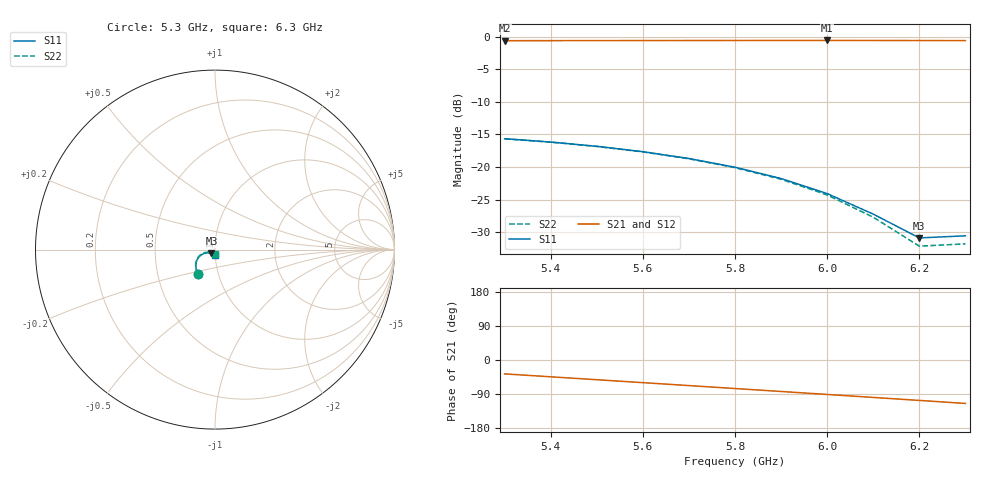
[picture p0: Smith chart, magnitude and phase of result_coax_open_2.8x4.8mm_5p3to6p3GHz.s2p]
! F02: W=2.8, L=4.8 mm L2 windows; original tapers; L3 intact
! 11 direct frequencies 5.3-6.3 GHz; 50-ohm coax reference; connectors included
# Hz S RI R 50
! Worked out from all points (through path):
!   11 points, 5.3 GHz to 6.3 GHz, reference 50 ohm
!   highest |S21| = -0.59 dB at 6 GHz (marker M1); lowest = -0.6 dB at 5.3 GHz (marker M2)
!   group delay of S21, straight-line fit = 216 ps
!   lowest |S11| = -30.8 dB at 6.2 GHz (marker M3), VSWR 1.06, Z = 48 - j2 ohm
!   |S11| at or under -10 dB: start of sweep to end of sweep
!   |S22| runs from -32.1 to -15.7 dB; largest |S21 - S12| = 1e-12
5.3e9  -0.0931 -0.1362  0.7464 -0.5554  0.7464 -0.5554  -0.0948 -0.1348
5.4e9  -0.1023 -0.1173  0.6659 -0.6507  0.6659 -0.6507  -0.104 -0.1154
5.5e9  -0.1067 -0.0972  0.5732 -0.7346  0.5732 -0.7346  -0.1083 -0.0949
5.6e9  -0.1062 -0.0772  0.4697 -0.8056  0.4697 -0.8056  -0.1075 -0.0745
5.7e9  -0.1007 -0.0584  0.3571 -0.8622  0.3571 -0.8622  -0.1017 -0.0553
5.8e9  -0.0906 -0.042  0.2374 -0.9031  0.2374 -0.9031  -0.0913 -0.0385
5.9e9  -0.0764 -0.0291  0.1126 -0.9273  0.1126 -0.9273  -0.0767 -0.0254
6e9  -0.0591 -0.0208  -0.0149 -0.934  -0.0149 -0.934  -0.0588 -0.0169
6.1e9  -0.0398 -0.0179  -0.1425 -0.9228  -0.1425 -0.9228  -0.0389 -0.0138
6.2e9  -0.0198 -0.0208  -0.2676 -0.8937  -0.2676 -0.8937  -0.0183 -0.0167
6.3e9  -0.000474 -0.0298  -0.3876 -0.847  -0.3876 -0.847  0.00157 -0.0258
